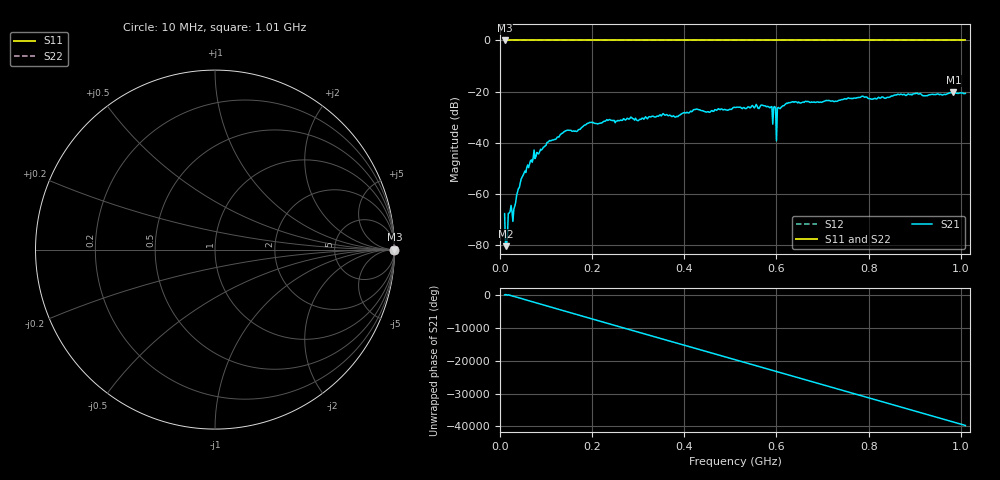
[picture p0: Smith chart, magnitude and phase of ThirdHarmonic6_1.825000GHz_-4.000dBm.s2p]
! 8/16/2025 10:06:29 PM
! C:\ANRITSUVNA\TEMP\TEMP.S2P
! CHANNEL.1
! TR.MEASUREMENT
! RAW.DATA
! RF.CORRECTION.OFF
! AVERAGING.OFF
! IF.BANDWIDTH: 5KHZ
! SWEEPTYPE:  FREQ.SWEEP(Linear)
! Reference Plane Port Info
! PORT:  PORT1  PORT2
! DISTANCE:  0  m  0  m
! TIME:  0  s  0  s
! PHASE.OFFSET:  0  deg.  0  deg.
! LOSS:  0  dB  0  dB
! REF.LOSS:  0  dB  0  dB
! REF.FREQ:  0  Hz  0  Hz
! Power Info
! POWER:  -20  dBm  -20  dBm
! EFF.POWER:  -20  dBm  -20  dBm
! SOURCE.ATTEN:  0  dB  0  dB
! TEST.ATTEN:  0  dB  0  dB
# GHZ S RI R 50.0
! FREQ.GHZ  S11RE  S11IM  S21RE  S21IM  S12RE  S12IM  S22RE  S22IM
!; PortSelection: Port_12
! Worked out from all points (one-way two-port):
!   501 points, 10 MHz to 1.01 GHz, reference 50 ohm
!   highest |S21| = -20.35 dB at 984 MHz (marker M1); lowest = -80.5 dB at 12 MHz (marker M2)
!   lowest |S11| = 0.0 dB at 10 MHz (marker M3)
!   |S11| at or under -10 dB: nowhere
!   |S22| runs from 0.0 to 0.0 dB; largest |S21 - S12| = 1.1
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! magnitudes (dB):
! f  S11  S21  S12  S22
! 10 MHz  0.0  -67.7  0.0  0.0
! 12 MHz  0.0  -80.5  0.0  0.0
! 16 MHz  0.0  -77.1  0.0  0.0
! 22 MHz  0.0  -66.9  0.0  0.0
! 30 MHz  0.0  -65.9  0.0  0.0
! 48 MHz  0.0  -53.5  0.0  0.0
! 70 MHz  0.0  -47.6  0.0  0.0
! 142 MHz  0.0  -35.4  0.0  0.0
! 178 MHz  0.0  -33.9  0.0  0.0
! 198 MHz  0.0  -32.0  0.0  0.0
! 344 MHz  0.0  -29.7  0.0  0.0
! 510 MHz  0.0  -26.2  0.0  0.0
! 586 MHz  0.0  -26.3  0.0  0.0
! 594 MHz  0.0  -26.1  0.0  0.0
! 596 MHz  0.0  -25.8  0.0  0.0
! 604 MHz  0.0  -26.2  0.0  0.0
! 606 MHz  0.0  -26.5  0.0  0.0
! 624 MHz  0.0  -24.6  0.0  0.0
! 678 MHz  0.0  -24.2  0.0  0.0
! 844 MHz  0.0  -22.3  0.0  0.0
! 984 MHz  0.0  -20.3  0.0  0.0
! 1.01 GHz  0.0  -20.7  0.0  0.0
